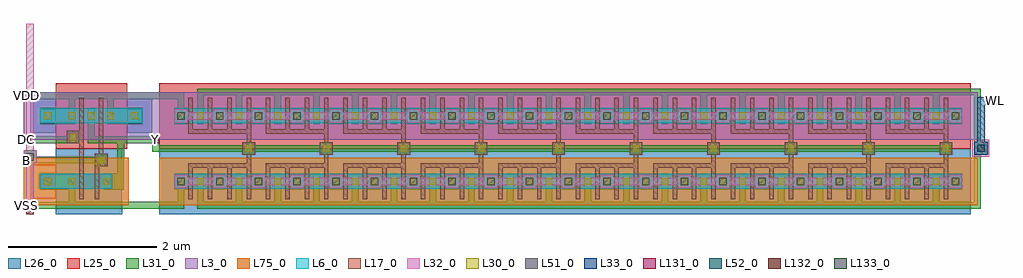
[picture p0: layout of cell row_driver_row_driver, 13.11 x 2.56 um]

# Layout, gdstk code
from math import pi, radians
import gdstk
lib = gdstk.Library(unit=1e-6, precision=1e-09)
def R(c, l, rs):  # rectangles x0, y0, x1, y1
    for r in rs: c.add(gdstk.rectangle(r[:2], r[2:], *l))
def A(c, l, x, y, w, h, nx, ny, dx, dy):  # array of equal rectangles
    R(c, l, [(x+i*dx, y+j*dy, x+i*dx+w, y+j*dy+h) for i in range(nx) for j in range(ny)])
L3_0 = (3, 0)
L6_0 = (6, 0)
L17_0 = (17, 0)
L25_0 = (25, 0)
L26_0 = (26, 0)
L30_0 = (30, 0)
L31_0 = (31, 0)
L32_0 = (32, 0)
L33_0 = (33, 0)
L51_0 = (51, 0)
L52_0 = (52, 0)
L75_0 = (75, 0)
L131_0 = (131, 0)
L132_0 = (132, 0)
L133_0 = (133, 0)

nch_0_row_driver = lib.new_cell('nch_0_row_driver')
R(nch_0_row_driver, L6_0, [(-0.175,0,0,0.2), (0,0,0.06,0.2), (0.06,0,10.2,0.2), (10.2,0,10.375,0.2)])
A(nch_0_row_driver, L17_0, 0, -0.14, 0.06, 0.14, 40, 2, 0.26, 0.34)
A(nch_0_row_driver, L17_0, 0, 0, 0.06, 0.2, 40, 1, 0.26, 0)
R(nch_0_row_driver, L26_0, [(-0.305,-0.34,10.505,0.54)])
A(nch_0_row_driver, L30_0, -0.145, 0.055, 0.09, 0.09, 41, 1, 0.26, 0)
A(nch_0_row_driver, L31_0, -0.145, -0.01, 0.09, 0.22, 41, 1, 0.26, 0)
R(nch_0_row_driver, L75_0, [(-0.395,-0.22,10.595,0.42)])
nch_0_row_driver.add(gdstk.Label('& SerialNumber 000000', (0,0), layer=63, texttype=63))
nch_0_row_driver.add(gdstk.Label('& Distributor TSMC', (0,0), layer=63, texttype=63))
nch_0_row_driver.add(gdstk.Label('& Metric 1', (0,0), layer=63, texttype=63))
nch_0_row_driver.add(gdstk.Label('& PDK TechNode "CRN65LP"', (0,0), layer=63, texttype=63))
nch_0_row_driver.add(gdstk.Label('& Product    tsmcN65_PDK', (0,0), layer=63, texttype=63))
nch_0_row_driver.add(gdstk.Label('& Vendor     Taiwan Semiconductor manufacturing Corp.', (0,0), layer=63, texttype=63))
nch_0_row_driver.add(gdstk.Label('[@instanceName]', (0.03,0.1), layer=127, texttype=0))
nch_0_row_driver.add(gdstk.Label('nch\n8.0/0.06\n', (0,0), layer=127, texttype=0))
nch_0_row_driver.add(gdstk.Label('D', (0.16,0.1), layer=127, texttype=0))
nch_0_row_driver.add(gdstk.Label('S', (0.42,0.1), layer=127, texttype=0))
nch_0_row_driver.add(gdstk.Label('D', (0.68,0.1), layer=127, texttype=0))
nch_0_row_driver.add(gdstk.Label('S', (0.94,0.1), layer=127, texttype=0))
nch_0_row_driver.add(gdstk.Label('D', (1.2,0.1), layer=127, texttype=0))
nch_0_row_driver.add(gdstk.Label('S', (1.46,0.1), layer=127, texttype=0))
nch_0_row_driver.add(gdstk.Label('D', (1.72,0.1), layer=127, texttype=0))
nch_0_row_driver.add(gdstk.Label('S', (1.98,0.1), layer=127, texttype=0))
nch_0_row_driver.add(gdstk.Label('D', (2.24,0.1), layer=127, texttype=0))
nch_0_row_driver.add(gdstk.Label('S', (2.5,0.1), layer=127, texttype=0))
nch_0_row_driver.add(gdstk.Label('D', (2.76,0.1), layer=127, texttype=0))
nch_0_row_driver.add(gdstk.Label('S', (3.02,0.1), layer=127, texttype=0))
nch_0_row_driver.add(gdstk.Label('D', (3.28,0.1), layer=127, texttype=0))
nch_0_row_driver.add(gdstk.Label('S', (3.54,0.1), layer=127, texttype=0))
nch_0_row_driver.add(gdstk.Label('D', (3.8,0.1), layer=127, texttype=0))
nch_0_row_driver.add(gdstk.Label('S', (4.06,0.1), layer=127, texttype=0))
nch_0_row_driver.add(gdstk.Label('D', (4.32,0.1), layer=127, texttype=0))
nch_0_row_driver.add(gdstk.Label('S', (4.58,0.1), layer=127, texttype=0))
nch_0_row_driver.add(gdstk.Label('D', (4.84,0.1), layer=127, texttype=0))
nch_0_row_driver.add(gdstk.Label('S', (5.1,0.1), layer=127, texttype=0))
nch_0_row_driver.add(gdstk.Label('D', (5.36,0.1), layer=127, texttype=0))
nch_0_row_driver.add(gdstk.Label('S', (5.62,0.1), layer=127, texttype=0))
nch_0_row_driver.add(gdstk.Label('D', (5.88,0.1), layer=127, texttype=0))
nch_0_row_driver.add(gdstk.Label('S', (6.14,0.1), layer=127, texttype=0))
nch_0_row_driver.add(gdstk.Label('D', (6.4,0.1), layer=127, texttype=0))
nch_0_row_driver.add(gdstk.Label('S', (6.66,0.1), layer=127, texttype=0))
nch_0_row_driver.add(gdstk.Label('D', (6.92,0.1), layer=127, texttype=0))
nch_0_row_driver.add(gdstk.Label('S', (7.18,0.1), layer=127, texttype=0))
nch_0_row_driver.add(gdstk.Label('D', (7.44,0.1), layer=127, texttype=0))
nch_0_row_driver.add(gdstk.Label('S', (7.7,0.1), layer=127, texttype=0))
nch_0_row_driver.add(gdstk.Label('D', (7.96,0.1), layer=127, texttype=0))
nch_0_row_driver.add(gdstk.Label('S', (8.22,0.1), layer=127, texttype=0))
nch_0_row_driver.add(gdstk.Label('D', (8.48,0.1), layer=127, texttype=0))
nch_0_row_driver.add(gdstk.Label('S', (8.74,0.1), layer=127, texttype=0))
nch_0_row_driver.add(gdstk.Label('D', (9,0.1), layer=127, texttype=0))
nch_0_row_driver.add(gdstk.Label('S', (9.26,0.1), layer=127, texttype=0))
nch_0_row_driver.add(gdstk.Label('D', (9.52,0.1), layer=127, texttype=0))
nch_0_row_driver.add(gdstk.Label('S', (9.78,0.1), layer=127, texttype=0))
nch_0_row_driver.add(gdstk.Label('D', (10.04,0.1), layer=127, texttype=0))
nch_0_row_driver.add(gdstk.Label('S', (10.3,0.1), layer=127, texttype=0))
nch_0_row_driver.add(gdstk.Label('S', (-0.1,0.1), layer=127, texttype=0))

pch_1_row_driver = lib.new_cell('pch_1_row_driver')
R(pch_1_row_driver, L3_0, [(-0.395,-0.22,10.595,0.42)])
R(pch_1_row_driver, L6_0, [(-0.175,0,0,0.2), (0,0,0.06,0.2), (0.06,0,10.2,0.2), (10.2,0,10.375,0.2)])
A(pch_1_row_driver, L17_0, 0, -0.14, 0.06, 0.14, 40, 2, 0.26, 0.34)
A(pch_1_row_driver, L17_0, 0, 0, 0.06, 0.2, 40, 1, 0.26, 0)
R(pch_1_row_driver, L25_0, [(-0.305,-0.34,10.505,0.54)])
A(pch_1_row_driver, L30_0, -0.145, 0.055, 0.09, 0.09, 41, 1, 0.26, 0)
A(pch_1_row_driver, L31_0, -0.145, -0.01, 0.09, 0.22, 41, 1, 0.26, 0)
pch_1_row_driver.add(gdstk.Label('& SerialNumber 000000', (0,0), layer=63, texttype=63))
pch_1_row_driver.add(gdstk.Label('& Distributor TSMC', (0,0), layer=63, texttype=63))
pch_1_row_driver.add(gdstk.Label('& Metric 1', (0,0), layer=63, texttype=63))
pch_1_row_driver.add(gdstk.Label('& PDK TechNode "CRN65LP"', (0,0), layer=63, texttype=63))
pch_1_row_driver.add(gdstk.Label('& Product    tsmcN65_PDK', (0,0), layer=63, texttype=63))
pch_1_row_driver.add(gdstk.Label('& Vendor     Taiwan Semiconductor manufacturing Corp.', (0,0), layer=63, texttype=63))
pch_1_row_driver.add(gdstk.Label('[@instanceName]', (0.03,0.1), layer=127, texttype=0))
pch_1_row_driver.add(gdstk.Label('pch\n8.0/0.06\n', (0,0), layer=127, texttype=0))
pch_1_row_driver.add(gdstk.Label('D', (0.16,0.1), layer=127, texttype=0))
pch_1_row_driver.add(gdstk.Label('S', (0.42,0.1), layer=127, texttype=0))
pch_1_row_driver.add(gdstk.Label('D', (0.68,0.1), layer=127, texttype=0))
pch_1_row_driver.add(gdstk.Label('S', (0.94,0.1), layer=127, texttype=0))
pch_1_row_driver.add(gdstk.Label('D', (1.2,0.1), layer=127, texttype=0))
pch_1_row_driver.add(gdstk.Label('S', (1.46,0.1), layer=127, texttype=0))
pch_1_row_driver.add(gdstk.Label('D', (1.72,0.1), layer=127, texttype=0))
pch_1_row_driver.add(gdstk.Label('S', (1.98,0.1), layer=127, texttype=0))
pch_1_row_driver.add(gdstk.Label('D', (2.24,0.1), layer=127, texttype=0))
pch_1_row_driver.add(gdstk.Label('S', (2.5,0.1), layer=127, texttype=0))
pch_1_row_driver.add(gdstk.Label('D', (2.76,0.1), layer=127, texttype=0))
pch_1_row_driver.add(gdstk.Label('S', (3.02,0.1), layer=127, texttype=0))
pch_1_row_driver.add(gdstk.Label('D', (3.28,0.1), layer=127, texttype=0))
pch_1_row_driver.add(gdstk.Label('S', (3.54,0.1), layer=127, texttype=0))
pch_1_row_driver.add(gdstk.Label('D', (3.8,0.1), layer=127, texttype=0))
pch_1_row_driver.add(gdstk.Label('S', (4.06,0.1), layer=127, texttype=0))
pch_1_row_driver.add(gdstk.Label('D', (4.32,0.1), layer=127, texttype=0))
pch_1_row_driver.add(gdstk.Label('S', (4.58,0.1), layer=127, texttype=0))
pch_1_row_driver.add(gdstk.Label('D', (4.84,0.1), layer=127, texttype=0))
pch_1_row_driver.add(gdstk.Label('S', (5.1,0.1), layer=127, texttype=0))
pch_1_row_driver.add(gdstk.Label('D', (5.36,0.1), layer=127, texttype=0))
pch_1_row_driver.add(gdstk.Label('S', (5.62,0.1), layer=127, texttype=0))
pch_1_row_driver.add(gdstk.Label('D', (5.88,0.1), layer=127, texttype=0))
pch_1_row_driver.add(gdstk.Label('S', (6.14,0.1), layer=127, texttype=0))
pch_1_row_driver.add(gdstk.Label('D', (6.4,0.1), layer=127, texttype=0))
pch_1_row_driver.add(gdstk.Label('S', (6.66,0.1), layer=127, texttype=0))
pch_1_row_driver.add(gdstk.Label('D', (6.92,0.1), layer=127, texttype=0))
pch_1_row_driver.add(gdstk.Label('S', (7.18,0.1), layer=127, texttype=0))
pch_1_row_driver.add(gdstk.Label('D', (7.44,0.1), layer=127, texttype=0))
pch_1_row_driver.add(gdstk.Label('S', (7.7,0.1), layer=127, texttype=0))
pch_1_row_driver.add(gdstk.Label('D', (7.96,0.1), layer=127, texttype=0))
pch_1_row_driver.add(gdstk.Label('S', (8.22,0.1), layer=127, texttype=0))
pch_1_row_driver.add(gdstk.Label('D', (8.48,0.1), layer=127, texttype=0))
pch_1_row_driver.add(gdstk.Label('S', (8.74,0.1), layer=127, texttype=0))
pch_1_row_driver.add(gdstk.Label('D', (9,0.1), layer=127, texttype=0))
pch_1_row_driver.add(gdstk.Label('S', (9.26,0.1), layer=127, texttype=0))
pch_1_row_driver.add(gdstk.Label('D', (9.52,0.1), layer=127, texttype=0))
pch_1_row_driver.add(gdstk.Label('S', (9.78,0.1), layer=127, texttype=0))
pch_1_row_driver.add(gdstk.Label('D', (10.04,0.1), layer=127, texttype=0))
pch_1_row_driver.add(gdstk.Label('S', (10.3,0.1), layer=127, texttype=0))
pch_1_row_driver.add(gdstk.Label('S', (-0.1,0.1), layer=127, texttype=0))

pch_2_row_driver = lib.new_cell('pch_2_row_driver')
R(pch_2_row_driver, L3_0, [(-0.75,-0.22,0.305,0.42)])
R(pch_2_row_driver, L6_0, [(-0.53,0,-0.32,0.2), (-0.32,0,0,0.2), (0,0,0.06,0.2), (0.06,0,0.085,0.2)])
R(pch_2_row_driver, L17_0, [(0,-0.14,0.06,0), (0,0,0.06,0.2), (0,0.2,0.06,0.34)])
R(pch_2_row_driver, L25_0, [(-0.32,-0.34,0.215,0.54)])
R(pch_2_row_driver, L26_0, [(-0.66,-0.13,-0.32,0.33)])
R(pch_2_row_driver, L30_0, [(-0.47,0.055,-0.38,0.145), (-0.145,0.055,-0.055,0.145)])
R(pch_2_row_driver, L31_0, [(-0.32,-0.01,-0.145,0.21), (-0.145,-0.01,-0.055,0.21)])
pch_2_row_driver.add(gdstk.FlexPath([(-0.425,-0.01),(-0.425,0.21)], 0.21, ends="flush", simple_path=True, layer=31, datatype=0))  # L31_0
pch_2_row_driver.add(gdstk.Label('& SerialNumber 000000', (0,0), layer=63, texttype=63))
pch_2_row_driver.add(gdstk.Label('& Distributor TSMC', (0,0), layer=63, texttype=63))
pch_2_row_driver.add(gdstk.Label('& Metric 1', (0,0), layer=63, texttype=63))
pch_2_row_driver.add(gdstk.Label('& PDK TechNode "CRN65LP"', (0,0), layer=63, texttype=63))
pch_2_row_driver.add(gdstk.Label('& Product    tsmcN65_PDK', (0,0), layer=63, texttype=63))
pch_2_row_driver.add(gdstk.Label('& Vendor     Taiwan Semiconductor manufacturing Corp.', (0,0), layer=63, texttype=63))
pch_2_row_driver.add(gdstk.Label('[@instanceName]', (0.03,0.1), layer=127, texttype=0))
pch_2_row_driver.add(gdstk.Label('pch\n0.2/0.06\n', (0,0), layer=127, texttype=0))
pch_2_row_driver.add(gdstk.Label('B', (-0.425,0.1), layer=127, texttype=0))
pch_2_row_driver.add(gdstk.Label('S', (-0.1,0.1), layer=127, texttype=0))

nch_3_row_driver = lib.new_cell('nch_3_row_driver')
R(nch_3_row_driver, L6_0, [(-0.075,0,0,0.2), (0,0,0.06,0.2), (0.06,0,0.235,0.2)])
R(nch_3_row_driver, L17_0, [(0,-0.14,0.06,0), (0,0,0.06,0.2), (0,0.2,0.06,0.34)])
R(nch_3_row_driver, L26_0, [(-0.205,-0.34,0.365,0.54)])
R(nch_3_row_driver, L30_0, [(0.115,0.055,0.205,0.145)])
R(nch_3_row_driver, L31_0, [(0.115,-0.01,0.205,0.21)])
R(nch_3_row_driver, L75_0, [(-0.295,-0.22,0.455,0.42)])
nch_3_row_driver.add(gdstk.Label('& SerialNumber 000000', (0,0), layer=63, texttype=63))
nch_3_row_driver.add(gdstk.Label('& Distributor TSMC', (0,0), layer=63, texttype=63))
nch_3_row_driver.add(gdstk.Label('& Metric 1', (0,0), layer=63, texttype=63))
nch_3_row_driver.add(gdstk.Label('& PDK TechNode "CRN65LP"', (0,0), layer=63, texttype=63))
nch_3_row_driver.add(gdstk.Label('& Product    tsmcN65_PDK', (0,0), layer=63, texttype=63))
nch_3_row_driver.add(gdstk.Label('& Vendor     Taiwan Semiconductor manufacturing Corp.', (0,0), layer=63, texttype=63))
nch_3_row_driver.add(gdstk.Label('[@instanceName]', (0.03,0.1), layer=127, texttype=0))
nch_3_row_driver.add(gdstk.Label('nch\n0.2/0.06\n', (0,0), layer=127, texttype=0))
nch_3_row_driver.add(gdstk.Label('D', (0.16,0.1), layer=127, texttype=0))

nch_4_row_driver = lib.new_cell('nch_4_row_driver')
R(nch_4_row_driver, L6_0, [(-0.53,0,-0.32,0.2), (-0.32,0,0,0.2), (0,0,0.06,0.2), (0.06,0,0.135,0.2)])
R(nch_4_row_driver, L17_0, [(0,-0.14,0.06,0), (0,0,0.06,0.2), (0,0.2,0.06,0.34)])
R(nch_4_row_driver, L25_0, [(-0.66,-0.13,-0.32,0.33)])
R(nch_4_row_driver, L26_0, [(-0.32,-0.34,0.265,0.54)])
R(nch_4_row_driver, L30_0, [(-0.47,0.055,-0.38,0.145), (-0.145,0.055,-0.055,0.145)])
R(nch_4_row_driver, L31_0, [(-0.32,-0.01,-0.145,0.21), (-0.145,-0.01,-0.055,0.21)])
R(nch_4_row_driver, L75_0, [(-0.75,-0.22,0.355,0.42)])
nch_4_row_driver.add(gdstk.FlexPath([(-0.425,-0.01),(-0.425,0.21)], 0.21, ends="flush", simple_path=True, layer=31, datatype=0))  # L31_0
nch_4_row_driver.add(gdstk.Label('& SerialNumber 000000', (0,0), layer=63, texttype=63))
nch_4_row_driver.add(gdstk.Label('& Distributor TSMC', (0,0), layer=63, texttype=63))
nch_4_row_driver.add(gdstk.Label('& Metric 1', (0,0), layer=63, texttype=63))
nch_4_row_driver.add(gdstk.Label('& PDK TechNode "CRN65LP"', (0,0), layer=63, texttype=63))
nch_4_row_driver.add(gdstk.Label('& Product    tsmcN65_PDK', (0,0), layer=63, texttype=63))
nch_4_row_driver.add(gdstk.Label('& Vendor     Taiwan Semiconductor manufacturing Corp.', (0,0), layer=63, texttype=63))
nch_4_row_driver.add(gdstk.Label('[@instanceName]', (0.03,0.1), layer=127, texttype=0))
nch_4_row_driver.add(gdstk.Label('nch\n0.2/0.06\n', (0,0), layer=127, texttype=0))
nch_4_row_driver.add(gdstk.Label('B', (-0.425,0.1), layer=127, texttype=0))
nch_4_row_driver.add(gdstk.Label('S', (-0.1,0.1), layer=127, texttype=0))

pch_5_row_driver = lib.new_cell('pch_5_row_driver')
R(pch_5_row_driver, L3_0, [(-0.75,-0.22,0.455,0.42)])
R(pch_5_row_driver, L6_0, [(-0.53,0,-0.32,0.2), (-0.32,0,0,0.2), (0,0,0.06,0.2), (0.06,0,0.235,0.2)])
R(pch_5_row_driver, L17_0, [(0,-0.14,0.06,0), (0,0,0.06,0.2), (0,0.2,0.06,0.34)])
R(pch_5_row_driver, L25_0, [(-0.32,-0.34,0.365,0.54)])
R(pch_5_row_driver, L26_0, [(-0.66,-0.13,-0.32,0.33)])
R(pch_5_row_driver, L30_0, [(-0.47,0.055,-0.38,0.145), (-0.145,0.055,-0.055,0.145), (0.115,0.055,0.205,0.145)])
R(pch_5_row_driver, L31_0, [(-0.32,-0.01,-0.145,0.21), (-0.145,-0.01,-0.055,0.21), (0.115,-0.01,0.205,0.21)])
pch_5_row_driver.add(gdstk.FlexPath([(-0.425,-0.01),(-0.425,0.21)], 0.21, ends="flush", simple_path=True, layer=31, datatype=0))  # L31_0
pch_5_row_driver.add(gdstk.Label('& SerialNumber 000000', (0,0), layer=63, texttype=63))
pch_5_row_driver.add(gdstk.Label('& Distributor TSMC', (0,0), layer=63, texttype=63))
pch_5_row_driver.add(gdstk.Label('& Metric 1', (0,0), layer=63, texttype=63))
pch_5_row_driver.add(gdstk.Label('& PDK TechNode "CRN65LP"', (0,0), layer=63, texttype=63))
pch_5_row_driver.add(gdstk.Label('& Product    tsmcN65_PDK', (0,0), layer=63, texttype=63))
pch_5_row_driver.add(gdstk.Label('& Vendor     Taiwan Semiconductor manufacturing Corp.', (0,0), layer=63, texttype=63))
pch_5_row_driver.add(gdstk.Label('[@instanceName]', (0.03,0.1), layer=127, texttype=0))
pch_5_row_driver.add(gdstk.Label('pch\n0.2/0.06\n', (0,0), layer=127, texttype=0))
pch_5_row_driver.add(gdstk.Label('B', (-0.425,0.1), layer=127, texttype=0))
pch_5_row_driver.add(gdstk.Label('D', (0.16,0.1), layer=127, texttype=0))
pch_5_row_driver.add(gdstk.Label('S', (-0.1,0.1), layer=127, texttype=0))

row_driver_row_driver = lib.new_cell('row_driver_row_driver')
A(row_driver_row_driver, L17_0, 2.94, 0.795, 0.17, 0.17, 10, 1, 1.04, 0)
R(row_driver_row_driver, L17_0, [(0.96,0.64,1.13,0.81), (0.58,0.95,0.75,1.12)])
R(row_driver_row_driver, L25_0, [(1.82,0.88,1.91,1.76)])
R(row_driver_row_driver, L26_0, [(1.82,0,1.91,0.88)])
A(row_driver_row_driver, L30_0, 2.98, 0.835, 0.09, 0.09, 10, 1, 1.04, 0)
R(row_driver_row_driver, L30_0, [(1,0.68,1.09,0.77), (0.62,0.99,0.71,1.08)])
A(row_driver_row_driver, L31_0, 2.025, 0.33, 0.18, 0.22, 21, 2, 0.52, 0.88)
A(row_driver_row_driver, L31_0, 2.94, 0.795, 0.17, 0.17, 10, 1, 1.04, 0)
R(row_driver_row_driver, L31_0, [(0.96,0.64,1.13,0.81), (0,0.68,0.18,0.86), (12.765,0.795,12.945,0.975), (0.58,0.95,0.75,1.12)])
A(row_driver_row_driver, L32_0, 2.025, 0.35, 0.18, 0.18, 21, 2, 0.52, 0.88)
R(row_driver_row_driver, L32_0, [(0,0.68,0.18,0.86), (12.74,0.77,12.97,1), (12.74,0.77,12.97,1)])
R(row_driver_row_driver, L33_0, [(12.765,0.795,12.945,0.975)])
A(row_driver_row_driver, L51_0, 2.065, 0.39, 0.1, 0.1, 21, 2, 0.52, 0.88)
R(row_driver_row_driver, L51_0, [(0.04,0.72,0.14,0.82), (12.805,0.835,12.905,0.935)])
R(row_driver_row_driver, L52_0, [(12.805,0.835,12.905,0.935)])
R(row_driver_row_driver, L131_0, [(0,0.075,0.09,0.165), (0,0.68,0.09,0.77), (0,0.955,0.09,1.045), (0,0.955,0.09,1.045), (1.73,0.955,1.82,1.045), (0,1.545,0.09,1.635)])
R(row_driver_row_driver, L132_0, [(0.04,0,0.14,0.1)])
R(row_driver_row_driver, L133_0, [(13.005,1.47,13.105,1.57)])
row_driver_row_driver.add(gdstk.FlexPath([(3.055,0.65),(2.215,0.65)], 0.06, ends="flush", simple_path=True, layer=17, datatype=0))  # L17_0
row_driver_row_driver.add(gdstk.FlexPath([(3.055,1.11),(2.215,1.11)], 0.06, ends="flush", simple_path=True, layer=17, datatype=0))  # L17_0
row_driver_row_driver.add(gdstk.FlexPath([(3.025,1.08),(3.025,0.68),(3.055,0.68)], 0.06, ends="flush", simple_path=True, layer=17, datatype=0))  # L17_0
row_driver_row_driver.add(gdstk.FlexPath([(4.095,0.65),(3.255,0.65)], 0.06, ends="flush", simple_path=True, layer=17, datatype=0))  # L17_0
row_driver_row_driver.add(gdstk.FlexPath([(4.095,1.11),(3.255,1.11)], 0.06, ends="flush", simple_path=True, layer=17, datatype=0))  # L17_0
row_driver_row_driver.add(gdstk.FlexPath([(4.065,1.08),(4.065,0.68),(4.095,0.68)], 0.06, ends="flush", simple_path=True, layer=17, datatype=0))  # L17_0
row_driver_row_driver.add(gdstk.FlexPath([(5.135,0.65),(4.295,0.65)], 0.06, ends="flush", simple_path=True, layer=17, datatype=0))  # L17_0
row_driver_row_driver.add(gdstk.FlexPath([(5.135,1.11),(4.295,1.11)], 0.06, ends="flush", simple_path=True, layer=17, datatype=0))  # L17_0
row_driver_row_driver.add(gdstk.FlexPath([(5.105,1.08),(5.105,0.68),(5.135,0.68)], 0.06, ends="flush", simple_path=True, layer=17, datatype=0))  # L17_0
row_driver_row_driver.add(gdstk.FlexPath([(6.175,0.65),(5.335,0.65)], 0.06, ends="flush", simple_path=True, layer=17, datatype=0))  # L17_0
row_driver_row_driver.add(gdstk.FlexPath([(6.175,1.11),(5.335,1.11)], 0.06, ends="flush", simple_path=True, layer=17, datatype=0))  # L17_0
row_driver_row_driver.add(gdstk.FlexPath([(6.145,1.08),(6.145,0.68),(6.175,0.68)], 0.06, ends="flush", simple_path=True, layer=17, datatype=0))  # L17_0
row_driver_row_driver.add(gdstk.FlexPath([(7.215,0.65),(6.375,0.65)], 0.06, ends="flush", simple_path=True, layer=17, datatype=0))  # L17_0
row_driver_row_driver.add(gdstk.FlexPath([(7.215,1.11),(6.375,1.11)], 0.06, ends="flush", simple_path=True, layer=17, datatype=0))  # L17_0
row_driver_row_driver.add(gdstk.FlexPath([(7.185,1.08),(7.185,0.68),(7.215,0.68)], 0.06, ends="flush", simple_path=True, layer=17, datatype=0))  # L17_0
row_driver_row_driver.add(gdstk.FlexPath([(8.255,0.65),(7.415,0.65)], 0.06, ends="flush", simple_path=True, layer=17, datatype=0))  # L17_0
row_driver_row_driver.add(gdstk.FlexPath([(8.255,1.11),(7.415,1.11)], 0.06, ends="flush", simple_path=True, layer=17, datatype=0))  # L17_0
row_driver_row_driver.add(gdstk.FlexPath([(8.225,1.08),(8.225,0.68),(8.255,0.68)], 0.06, ends="flush", simple_path=True, layer=17, datatype=0))  # L17_0
row_driver_row_driver.add(gdstk.FlexPath([(9.295,0.65),(8.455,0.65)], 0.06, ends="flush", simple_path=True, layer=17, datatype=0))  # L17_0
row_driver_row_driver.add(gdstk.FlexPath([(9.295,1.11),(8.455,1.11)], 0.06, ends="flush", simple_path=True, layer=17, datatype=0))  # L17_0
row_driver_row_driver.add(gdstk.FlexPath([(9.265,1.08),(9.265,0.68),(9.295,0.68)], 0.06, ends="flush", simple_path=True, layer=17, datatype=0))  # L17_0
row_driver_row_driver.add(gdstk.FlexPath([(10.335,0.65),(9.495,0.65)], 0.06, ends="flush", simple_path=True, layer=17, datatype=0))  # L17_0
row_driver_row_driver.add(gdstk.FlexPath([(10.335,1.11),(9.495,1.11)], 0.06, ends="flush", simple_path=True, layer=17, datatype=0))  # L17_0
row_driver_row_driver.add(gdstk.FlexPath([(10.305,1.08),(10.305,0.68),(10.335,0.68)], 0.06, ends="flush", simple_path=True, layer=17, datatype=0))  # L17_0
row_driver_row_driver.add(gdstk.FlexPath([(11.375,0.65),(10.535,0.65)], 0.06, ends="flush", simple_path=True, layer=17, datatype=0))  # L17_0
row_driver_row_driver.add(gdstk.FlexPath([(11.375,1.11),(10.535,1.11)], 0.06, ends="flush", simple_path=True, layer=17, datatype=0))  # L17_0
row_driver_row_driver.add(gdstk.FlexPath([(12.415,0.65),(11.575,0.65)], 0.06, ends="flush", simple_path=True, layer=17, datatype=0))  # L17_0
row_driver_row_driver.add(gdstk.FlexPath([(11.345,1.08),(11.345,0.68),(11.375,0.68)], 0.06, ends="flush", simple_path=True, layer=17, datatype=0))  # L17_0
row_driver_row_driver.add(gdstk.FlexPath([(12.415,1.11),(11.575,1.11)], 0.06, ends="flush", simple_path=True, layer=17, datatype=0))  # L17_0
row_driver_row_driver.add(gdstk.FlexPath([(12.385,1.08),(12.385,0.68),(12.415,0.68)], 0.06, ends="flush", simple_path=True, layer=17, datatype=0))  # L17_0
row_driver_row_driver.add(gdstk.FlexPath([(0.78,1.08),(0.78,0.68)], 0.06, ends="flush", simple_path=True, layer=17, datatype=0))  # L17_0
row_driver_row_driver.add(gdstk.FlexPath([(1.04,0.725),(1.045,0.725)], 0.06, ends=(0.03, 0), simple_path=True, layer=17, datatype=0))  # L17_0
row_driver_row_driver.add(gdstk.FlexPath([(1.04,1.08),(1.04,0.725)], 0.06, ends=(0, 0.03), simple_path=True, layer=17, datatype=0))  # L17_0
row_driver_row_driver.add(gdstk.FlexPath([(12.255,1.64),(12.81,1.64),(12.81,0.12),(12.255,0.12)], 0.09, ends="flush", simple_path=True, layer=31, datatype=0))  # L31_0
row_driver_row_driver.add(gdstk.FlexPath([(2.895,0.33),(2.895,0.075)], 0.09, ends="flush", simple_path=True, layer=31, datatype=0))  # L31_0
row_driver_row_driver.add(gdstk.FlexPath([(3.415,0.33),(3.415,0.075)], 0.09, ends="flush", simple_path=True, layer=31, datatype=0))  # L31_0
row_driver_row_driver.add(gdstk.FlexPath([(3.935,0.33),(3.935,0.075)], 0.09, ends="flush", simple_path=True, layer=31, datatype=0))  # L31_0
row_driver_row_driver.add(gdstk.FlexPath([(4.455,0.33),(4.455,0.075)], 0.09, ends="flush", simple_path=True, layer=31, datatype=0))  # L31_0
row_driver_row_driver.add(gdstk.FlexPath([(4.975,0.33),(4.975,0.075)], 0.09, ends="flush", simple_path=True, layer=31, datatype=0))  # L31_0
row_driver_row_driver.add(gdstk.FlexPath([(5.495,0.33),(5.495,0.075)], 0.09, ends="flush", simple_path=True, layer=31, datatype=0))  # L31_0
row_driver_row_driver.add(gdstk.FlexPath([(6.015,0.33),(6.015,0.075)], 0.09, ends="flush", simple_path=True, layer=31, datatype=0))  # L31_0
row_driver_row_driver.add(gdstk.FlexPath([(6.535,0.33),(6.535,0.075)], 0.09, ends="flush", simple_path=True, layer=31, datatype=0))  # L31_0
row_driver_row_driver.add(gdstk.FlexPath([(7.055,0.33),(7.055,0.075)], 0.09, ends="flush", simple_path=True, layer=31, datatype=0))  # L31_0
row_driver_row_driver.add(gdstk.FlexPath([(7.575,0.33),(7.575,0.075)], 0.09, ends="flush", simple_path=True, layer=31, datatype=0))  # L31_0
row_driver_row_driver.add(gdstk.FlexPath([(8.095,0.33),(8.095,0.075)], 0.09, ends="flush", simple_path=True, layer=31, datatype=0))  # L31_0
row_driver_row_driver.add(gdstk.FlexPath([(8.615,0.33),(8.615,0.075)], 0.09, ends="flush", simple_path=True, layer=31, datatype=0))  # L31_0
row_driver_row_driver.add(gdstk.FlexPath([(9.135,0.33),(9.135,0.075)], 0.09, ends="flush", simple_path=True, layer=31, datatype=0))  # L31_0
row_driver_row_driver.add(gdstk.FlexPath([(9.655,0.33),(9.655,0.075)], 0.09, ends="flush", simple_path=True, layer=31, datatype=0))  # L31_0
row_driver_row_driver.add(gdstk.FlexPath([(10.175,0.33),(10.175,0.075)], 0.09, ends="flush", simple_path=True, layer=31, datatype=0))  # L31_0
row_driver_row_driver.add(gdstk.FlexPath([(10.695,0.33),(10.695,0.075)], 0.09, ends="flush", simple_path=True, layer=31, datatype=0))  # L31_0
row_driver_row_driver.add(gdstk.FlexPath([(11.215,0.33),(11.215,0.075)], 0.09, ends="flush", simple_path=True, layer=31, datatype=0))  # L31_0
row_driver_row_driver.add(gdstk.FlexPath([(11.735,0.33),(11.735,0.075)], 0.09, ends="flush", simple_path=True, layer=31, datatype=0))  # L31_0
row_driver_row_driver.add(gdstk.FlexPath([(2.375,0.33),(2.375,0.12),(12.255,0.12),(12.255,0.33)], 0.09, ends="flush", simple_path=True, layer=31, datatype=0))  # L31_0
row_driver_row_driver.add(gdstk.FlexPath([(2.895,1.43),(2.895,1.685)], 0.09, ends="flush", simple_path=True, layer=31, datatype=0))  # L31_0
row_driver_row_driver.add(gdstk.FlexPath([(3.415,1.43),(3.415,1.685)], 0.09, ends="flush", simple_path=True, layer=31, datatype=0))  # L31_0
row_driver_row_driver.add(gdstk.FlexPath([(3.935,1.43),(3.935,1.685)], 0.09, ends="flush", simple_path=True, layer=31, datatype=0))  # L31_0
row_driver_row_driver.add(gdstk.FlexPath([(4.455,1.43),(4.455,1.685)], 0.09, ends="flush", simple_path=True, layer=31, datatype=0))  # L31_0
row_driver_row_driver.add(gdstk.FlexPath([(4.975,1.43),(4.975,1.685)], 0.09, ends="flush", simple_path=True, layer=31, datatype=0))  # L31_0
row_driver_row_driver.add(gdstk.FlexPath([(5.495,1.43),(5.495,1.685)], 0.09, ends="flush", simple_path=True, layer=31, datatype=0))  # L31_0
row_driver_row_driver.add(gdstk.FlexPath([(6.015,1.43),(6.015,1.685)], 0.09, ends="flush", simple_path=True, layer=31, datatype=0))  # L31_0
row_driver_row_driver.add(gdstk.FlexPath([(6.535,1.43),(6.535,1.685)], 0.09, ends="flush", simple_path=True, layer=31, datatype=0))  # L31_0
row_driver_row_driver.add(gdstk.FlexPath([(7.055,1.43),(7.055,1.685)], 0.09, ends="flush", simple_path=True, layer=31, datatype=0))  # L31_0
row_driver_row_driver.add(gdstk.FlexPath([(7.575,1.43),(7.575,1.685)], 0.09, ends="flush", simple_path=True, layer=31, datatype=0))  # L31_0
row_driver_row_driver.add(gdstk.FlexPath([(8.095,1.43),(8.095,1.685)], 0.09, ends="flush", simple_path=True, layer=31, datatype=0))  # L31_0
row_driver_row_driver.add(gdstk.FlexPath([(8.615,1.43),(8.615,1.685)], 0.09, ends="flush", simple_path=True, layer=31, datatype=0))  # L31_0
row_driver_row_driver.add(gdstk.FlexPath([(9.135,1.43),(9.135,1.685)], 0.09, ends="flush", simple_path=True, layer=31, datatype=0))  # L31_0
row_driver_row_driver.add(gdstk.FlexPath([(9.655,1.43),(9.655,1.685)], 0.09, ends="flush", simple_path=True, layer=31, datatype=0))  # L31_0
row_driver_row_driver.add(gdstk.FlexPath([(10.175,1.43),(10.175,1.685)], 0.09, ends="flush", simple_path=True, layer=31, datatype=0))  # L31_0
row_driver_row_driver.add(gdstk.FlexPath([(10.695,1.43),(10.695,1.685)], 0.09, ends="flush", simple_path=True, layer=31, datatype=0))  # L31_0
row_driver_row_driver.add(gdstk.FlexPath([(11.215,1.43),(11.215,1.685)], 0.09, ends="flush", simple_path=True, layer=31, datatype=0))  # L31_0
row_driver_row_driver.add(gdstk.FlexPath([(11.735,1.43),(11.735,1.685)], 0.09, ends="flush", simple_path=True, layer=31, datatype=0))  # L31_0
row_driver_row_driver.add(gdstk.FlexPath([(3.025,0.88),(12.385,0.88)], 0.09, ends="flush", simple_path=True, layer=31, datatype=0))  # L31_0
row_driver_row_driver.add(gdstk.FlexPath([(2.375,1.43),(2.375,1.64),(12.255,1.64),(12.255,1.43)], 0.09, ends="flush", simple_path=True, layer=31, datatype=0))  # L31_0
row_driver_row_driver.add(gdstk.FlexPath([(0.665,1),(0,1)], 0.09, ends="flush", simple_path=True, layer=31, datatype=0))  # L31_0
row_driver_row_driver.add(gdstk.FlexPath([(0.65,1.59),(0,1.59)], 0.09, ends=(0.045, 0), simple_path=True, layer=31, datatype=0))  # L31_0
row_driver_row_driver.add(gdstk.FlexPath([(0.65,1.59),(1.17,1.59)], 0.09, ends="extended", simple_path=True, layer=31, datatype=0))  # L31_0
row_driver_row_driver.add(gdstk.FlexPath([(1.17,1.59),(1.82,1.59)], 0.09, ends=(0.045, 0), simple_path=True, layer=31, datatype=0))  # L31_0
row_driver_row_driver.add(gdstk.FlexPath([(0.65,0.12),(0,0.12)], 0.09, ends=(0.045, 0), simple_path=True, layer=31, datatype=0))  # L31_0
row_driver_row_driver.add(gdstk.FlexPath([(0.65,0.12),(1.82,0.12)], 0.09, ends=(0.045, 0), simple_path=True, layer=31, datatype=0))  # L31_0
row_driver_row_driver.add(gdstk.FlexPath([(0.65,0.33),(0.65,0.12)], 0.09, ends=(0, 0.045), simple_path=True, layer=31, datatype=0))  # L31_0
row_driver_row_driver.add(gdstk.FlexPath([(0.65,1.43),(0.65,1.59)], 0.09, ends=(0, 0.045), simple_path=True, layer=31, datatype=0))  # L31_0
row_driver_row_driver.add(gdstk.FlexPath([(0.91,1.21),(0.91,1)], 0.09, ends=(0, 0.045), simple_path=True, layer=31, datatype=0))  # L31_0
row_driver_row_driver.add(gdstk.FlexPath([(1.305,1),(1.82,1)], 0.09, ends=(0.045, 0), simple_path=True, layer=31, datatype=0))  # L31_0
row_driver_row_driver.add(gdstk.FlexPath([(0.91,1),(1.305,1)], 0.09, ends="extended", simple_path=True, layer=31, datatype=0))  # L31_0
row_driver_row_driver.add(gdstk.FlexPath([(1.045,0.725),(0,0.725)], 0.09, ends="flush", simple_path=True, layer=31, datatype=0))  # L31_0
row_driver_row_driver.add(gdstk.FlexPath([(1.17,1.43),(1.17,1.59)], 0.09, ends=(0, 0.045), simple_path=True, layer=31, datatype=0))  # L31_0
row_driver_row_driver.add(gdstk.FlexPath([(1.305,0.44),(1.165,0.44)], 0.22, ends=(0.045, 0), simple_path=True, layer=31, datatype=0))  # L31_0
row_driver_row_driver.add(gdstk.FlexPath([(1.305,1),(1.305,0.44)], 0.09, ends=(0.045, 0.11), simple_path=True, layer=31, datatype=0))  # L31_0
row_driver_row_driver.add(gdstk.FlexPath([(2.94,0.88),(1.775,0.88),(1.775,1)], 0.09, ends="flush", simple_path=True, layer=31, datatype=0))  # L31_0
row_driver_row_driver.add(gdstk.FlexPath([(1.82,1.59),(2.115,1.59)], 0.09, ends=(0, 0.045), simple_path=True, layer=31, datatype=0))  # L31_0
row_driver_row_driver.add(gdstk.FlexPath([(1.725,0.12),(2.115,0.12)], 0.09, ends=(0, 0.045), simple_path=True, layer=31, datatype=0))  # L31_0
row_driver_row_driver.add(gdstk.FlexPath([(2.115,1.59),(2.115,1.43)], 0.09, ends=(0.045, 0), simple_path=True, layer=31, datatype=0))  # L31_0
row_driver_row_driver.add(gdstk.FlexPath([(2.115,0.12),(2.115,0.33)], 0.09, ends=(0.045, 0), simple_path=True, layer=31, datatype=0))  # L31_0
row_driver_row_driver.add(gdstk.FlexPath([(12.515,0.44),(2.115,0.44)], 0.1, ends="flush", simple_path=True, layer=32, datatype=0))  # L32_0
row_driver_row_driver.add(gdstk.FlexPath([(2.115,1.32),(12.515,1.32)], 0.1, ends="flush", simple_path=True, layer=32, datatype=0))  # L32_0
row_driver_row_driver.add(gdstk.FlexPath([(0.09,0.77),(0.09,2.555)], 0.1, ends="flush", simple_path=True, layer=32, datatype=0))  # L32_0
row_driver_row_driver.add(gdstk.FlexPath([(0.09,0.77),(0.09,0)], 0.1, ends="flush", simple_path=True, layer=32, datatype=0))  # L32_0
row_driver_row_driver.add(gdstk.FlexPath([(12.855,1.52),(13.105,1.52)], 0.1, ends=(0.05, 0), simple_path=True, layer=33, datatype=0))  # L33_0
row_driver_row_driver.add(gdstk.FlexPath([(12.855,0.885),(12.855,1.52)], 0.1, ends=(0, 0.05), simple_path=True, layer=33, datatype=0))  # L33_0
row_driver_row_driver.add(gdstk.Reference(nch_0_row_driver, (2.215,0.34)))
row_driver_row_driver.add(gdstk.Reference(pch_1_row_driver, (2.215,1.22)))
row_driver_row_driver.add(gdstk.Reference(pch_2_row_driver, (1.07,1.22), rotation=pi, x_reflection=True))
row_driver_row_driver.add(gdstk.Reference(nch_3_row_driver, (0.96,0.34)))
row_driver_row_driver.add(gdstk.Reference(nch_4_row_driver, (0.75,0.34)))
row_driver_row_driver.add(gdstk.Reference(pch_5_row_driver, (0.75,1.22)))
row_driver_row_driver.add(gdstk.Label('DC', (0.045,1), layer=131, texttype=0))
row_driver_row_driver.add(gdstk.Label('Y', (1.775,1), layer=131, texttype=0))
row_driver_row_driver.add(gdstk.Label('VDD', (0.045,1.59), layer=131, texttype=0))
row_driver_row_driver.add(gdstk.Label('VSS', (0.045,0.12), layer=131, texttype=0))
row_driver_row_driver.add(gdstk.Label('A', (0.045,1.035), layer=131, texttype=0))
row_driver_row_driver.add(gdstk.Label('B', (0.045,0.725), layer=131, texttype=0))
row_driver_row_driver.add(gdstk.Label('WLEN', (0.09,0.05), layer=132, texttype=0))
row_driver_row_driver.add(gdstk.Label('WL', (13.055,1.52), layer=133, texttype=0))

lib.write_gds('row_driver_row_driver.gds')
